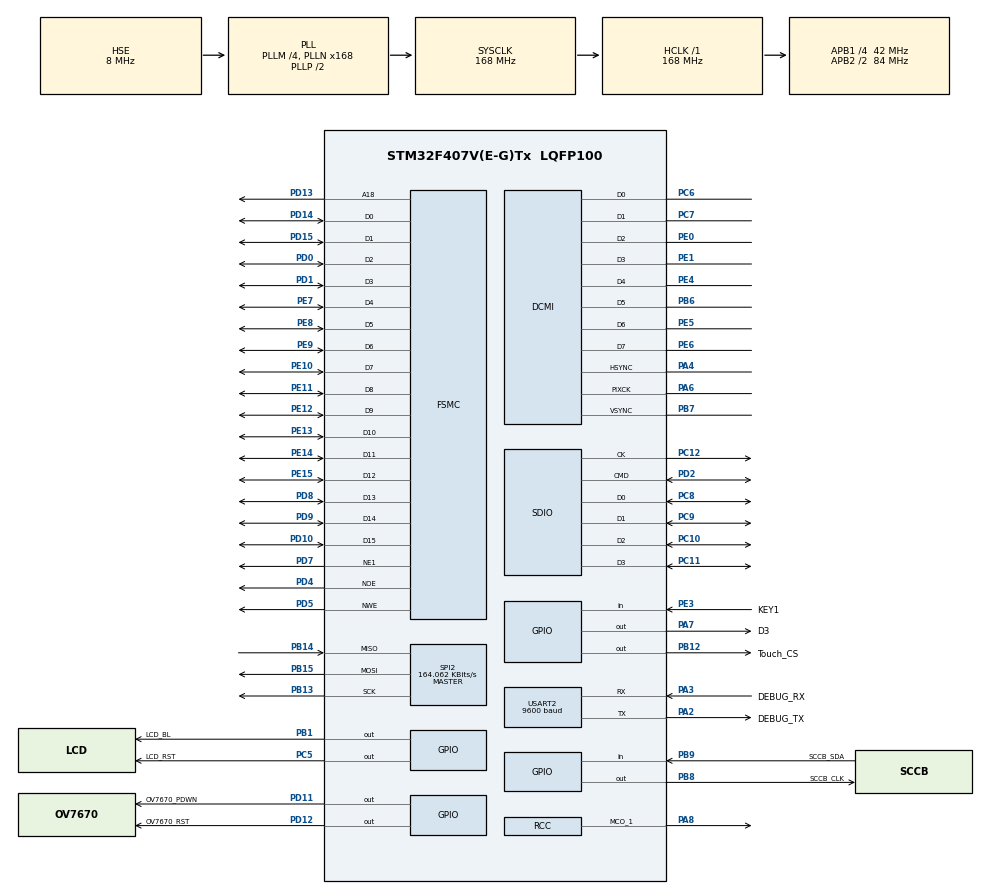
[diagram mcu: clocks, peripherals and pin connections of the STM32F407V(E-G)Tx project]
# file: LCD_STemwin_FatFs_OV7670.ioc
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DCMI.HSPolarity=DCMI_HSPOLARITY_HIGH
DCMI.VSPolarity=DCMI_VSPOLARITY_HIGH
Dma.DCMI.0.Direction=DMA_PERIPH_TO_MEMORY
Dma.DCMI.0.FIFOMode=DMA_FIFOMODE_DISABLE
Dma.DCMI.0.Instance=DMA2_Stream1
Dma.DCMI.0.MemDataAlignment=DMA_MDATAALIGN_WORD
Dma.DCMI.0.MemInc=DMA_MINC_ENABLE
Dma.DCMI.0.Mode=DMA_CIRCULAR
Dma.DCMI.0.PeriphDataAlignment=DMA_PDATAALIGN_WORD
Dma.DCMI.0.PeriphInc=DMA_PINC_DISABLE
Dma.DCMI.0.Priority=DMA_PRIORITY_VERY_HIGH
Dma.Request0=DCMI
FATFS.USE_DMA_CODE_SD=0
FATFS._CODE_PAGE=936
FATFS._USE_FASTSEEK=0
FATFS._USE_FIND=0
FATFS._USE_LFN=2
FSMC.AddressSetupTime1=8
FSMC.BusTurnAroundDuration1=0
FSMC.DataSetupTime1=20
Mcu.Family=STM32F4
Mcu.Name=STM32F407V(E-G)Tx
Mcu.Package=LQFP100
NVIC.DMA2_Stream1_IRQn=true\:0\:0\:false\:false\:true\:false
NVIC.PriorityGroup=NVIC_PRIORITYGROUP_4
PA0-WKUP.Mode=SYS_WakeUp0
PA0-WKUP.Signal=SYS_WKUP
PA13.Mode=Serial_Wire
PA13.Signal=SYS_JTMS-SWDIO
PA14.Mode=Serial_Wire
PA14.Signal=SYS_JTCK-SWCLK
PA2.GPIO_Label=DEBUG_TX
PA2.Mode=Asynchronous
PA2.Signal=USART2_TX
PA3.GPIO_Label=DEBUG_RX
PA3.Mode=Asynchronous
PA3.Signal=USART2_RX
PA4.Mode=Slave_8_bits_External_Synchro
PA4.Signal=DCMI_HSYNC
PA6.Mode=Slave_8_bits_External_Synchro
PA6.Signal=DCMI_PIXCK
PA7.GPIO_Label=D3
PA7.GPIO_Speed=GPIO_SPEED_FREQ_VERY_HIGH
PA7.Signal=GPIO_Output
PA8.Mode=Clock-out-1
PA8.Signal=RCC_MCO_1
PB1.GPIO_Label=LCD_BL
PB1.GPIO_Speed=GPIO_SPEED_FREQ_VERY_HIGH
PB1.Signal=GPIO_Output
PB12.GPIO_Label=Touch_CS
PB12.GPIO_Speed=GPIO_SPEED_FREQ_VERY_HIGH
PB12.Signal=GPIO_Output
PB13.Mode=Full_Duplex_Master
PB13.Signal=SPI2_SCK
PB14.Mode=Full_Duplex_Master
PB14.Signal=SPI2_MISO
PB15.Mode=Full_Duplex_Master
PB15.Signal=SPI2_MOSI
PB6.Mode=Slave_8_bits_External_Synchro
PB6.Signal=DCMI_D5
PB7.Mode=Slave_8_bits_External_Synchro
PB7.Signal=DCMI_VSYNC
PB8.GPIO_Label=SCCB_CLK
PB8.GPIO_PuPd=GPIO_PULLUP
PB8.GPIO_Speed=GPIO_SPEED_FREQ_VERY_HIGH
PB8.Signal=GPIO_Output
PB9.GPIO_Label=SCCB_SDA
PB9.GPIO_PuPd=GPIO_PULLUP
PB9.Signal=GPIO_Input
PC10.Mode=SD_4_bits_Wide_bus
PC10.Signal=SDIO_D2
PC11.Mode=SD_4_bits_Wide_bus
PC11.Signal=SDIO_D3
PC12.Mode=SD_4_bits_Wide_bus
PC12.Signal=SDIO_CK
PC14-OSC32_IN.Mode=LSE-External-Oscillator
PC14-OSC32_IN.Signal=RCC_OSC32_IN
PC15-OSC32_OUT.Mode=LSE-External-Oscillator
PC15-OSC32_OUT.Signal=RCC_OSC32_OUT
PC5.GPIO_Label=LCD_RST
PC5.GPIO_Speed=GPIO_SPEED_FREQ_VERY_HIGH
PC5.Signal=GPIO_Output
PC6.Mode=Slave_8_bits_External_Synchro
PC6.Signal=DCMI_D0
PC7.Mode=Slave_8_bits_External_Synchro
PC7.Signal=DCMI_D1
PC8.Mode=SD_4_bits_Wide_bus
PC8.Signal=SDIO_D0
PC9.Mode=SD_4_bits_Wide_bus
PC9.Signal=SDIO_D1
PD0.Mode=16b-d1
PD0.Signal=FSMC_D2
PD1.Mode=16b-d1
PD1.Signal=FSMC_D3
PD10.Mode=16b-d1
PD10.Signal=FSMC_D15
PD11.GPIO_Label=OV7670_PDWN
PD11.GPIO_Speed=GPIO_SPEED_FREQ_VERY_HIGH
PD11.Signal=GPIO_Output
PD12.GPIO_Label=OV7670_RST
PD12.GPIO_Speed=GPIO_SPEED_FREQ_VERY_HIGH
PD12.Signal=GPIO_Output
PD13.Mode=A18_1
PD13.Signal=FSMC_A18
PD14.Mode=16b-d1
PD14.Signal=FSMC_D0
PD15.Mode=16b-d1
PD15.Signal=FSMC_D1
PD2.Mode=SD_4_bits_Wide_bus
PD2.Signal=SDIO_CMD
PD4.Mode=Lcd1
PD4.Signal=FSMC_NOE
PD5.Mode=Lcd1
PD5.Signal=FSMC_NWE
PD7.Mode=NorPsramChipSelect1_1
PD7.Signal=FSMC_NE1
PD8.Mode=16b-d1
PD8.Signal=FSMC_D13
PD9.Mode=16b-d1
PD9.Signal=FSMC_D14
PE0.Mode=Slave_8_bits_External_Synchro
PE0.Signal=DCMI_D2
PE1.Mode=Slave_8_bits_External_Synchro
PE1.Signal=DCMI_D3
PE10.Mode=16b-d1
PE10.Signal=FSMC_D7
PE11.Mode=16b-d1
PE11.Signal=FSMC_D8
PE12.Mode=16b-d1
PE12.Signal=FSMC_D9
PE13.Mode=16b-d1
PE13.Signal=FSMC_D10
PE14.Mode=16b-d1
PE14.Signal=FSMC_D11
PE15.Mode=16b-d1
PE15.Signal=FSMC_D12
PE3.GPIO_Label=KEY1
PE3.Signal=GPIO_Input
PE4.Mode=Slave_8_bits_External_Synchro
PE4.Signal=DCMI_D4
PE5.Mode=Slave_8_bits_External_Synchro
PE5.Signal=DCMI_D6
PE6.Mode=Slave_8_bits_External_Synchro
PE6.Signal=DCMI_D7
PE7.Mode=16b-d1
PE7.Signal=FSMC_D4
PE8.Mode=16b-d1
PE8.Signal=FSMC_D5
PE9.Mode=16b-d1
PE9.Signal=FSMC_D6
PH0-OSC_IN.Mode=HSE-External-Oscillator
PH0-OSC_IN.Signal=RCC_OSC_IN
PH1-OSC_OUT.Mode=HSE-External-Oscillator
PH1-OSC_OUT.Signal=RCC_OSC_OUT
ProjectManager.HeapSize=0x1000
ProjectManager.StackSize=0x1200
ProjectManager.TargetToolchain=MDK-ARM V5
RCC.48MHZClocksFreq_Value=48000000
RCC.AHBFreq_Value=168000000
RCC.APB1CLKDivider=RCC_HCLK_DIV4
RCC.APB1Freq_Value=42000000
RCC.APB1TimFreq_Value=84000000
RCC.APB2CLKDivider=RCC_HCLK_DIV2
RCC.APB2Freq_Value=84000000
RCC.APB2TimFreq_Value=168000000
RCC.CortexFreq_Value=168000000
RCC.EnbaleCSS=true
RCC.HCLKFreq_Value=168000000
RCC.HSE_VALUE=8000000
RCC.HSI_VALUE=16000000
RCC.PLLM=4
RCC.PLLN=168
RCC.PLLQ=7
RCC.PLLSourceVirtual=RCC_PLLSOURCE_HSE
RCC.SYSCLKFreq_VALUE=168000000
RCC.SYSCLKSource=RCC_SYSCLKSOURCE_PLLCLK
RCC.VCOOutputFreq_Value=336000000
SPI2.BaudRatePrescaler=SPI_BAUDRATEPRESCALER_256
SPI2.CLKPhase=SPI_PHASE_1EDGE
SPI2.CLKPolarity=SPI_POLARITY_LOW
SPI2.CalculateBaudRate=164.062 KBits/s
SPI2.Direction=SPI_DIRECTION_2LINES
SPI2.Mode=SPI_MODE_MASTER
SPI2.VirtualType=VM_MASTER
USART2.BaudRate=9600
USART2.VirtualMode=VM_ASYNC
VP_CRC_VS_CRC.Mode=CRC_Activate
VP_FATFS_VS_SDIO.Mode=SDIO
board=LCD_Drive

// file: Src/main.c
/**
  ******************************************************************************
  * @file           : main.c
  * @brief          : Main program body
  ******************************************************************************
  * This notice applies to any and all portions of this file
  * that are not between comment pairs USER CODE BEGIN and
  * USER CODE END. Other portions of this file, whether
  * inserted by the user or by software development tools
  * are owned by their respective copyright owners.
  *
  * Copyright (c) 2018 STMicroelectronics International N.V.
  * All rights reserved.
  *
  * Redistribution and use in source and binary forms, with or without
  * modification, are permitted, provided that the following conditions are met:
  *
  * 1. Redistribution of source code must retain the above copyright notice,
  *    this list of conditions and the following disclaimer.
  * 2. Redistributions in binary form must reproduce the above copyright notice,
  *    this list of conditions and the following disclaimer in the documentation
  *    and/or other materials provided with the distribution.
  * 3. Neither the name of STMicroelectronics nor the names of other
  *    contributors to this software may be used to endorse or promote products
  *    derived from this software without specific written permission.
  * 4. This software, including modifications and/or derivative works of this
  *    software, must execute solely and exclusively on microcontroller or
  *    microprocessor devices manufactured by or for STMicroelectronics.
  * 5. Redistribution and use of this software other than as permitted under
  *    this license is void and will automatically terminate your rights under
  *    this license.
  *
  * THIS SOFTWARE IS PROVIDED BY STMICROELECTRONICS AND CONTRIBUTORS "AS IS"
  * AND ANY EXPRESS, IMPLIED OR STATUTORY WARRANTIES, INCLUDING, BUT NOT
  * LIMITED TO, THE IMPLIED WARRANTIES OF MERCHANTABILITY, FITNESS FOR A
  * PARTICULAR PURPOSE AND NON-INFRINGEMENT OF THIRD PARTY INTELLECTUAL PROPERTY
  * RIGHTS ARE DISCLAIMED TO THE FULLEST EXTENT PERMITTED BY LAW. IN NO EVENT
  * SHALL STMICROELECTRONICS OR CONTRIBUTORS BE LIABLE FOR ANY DIRECT, INDIRECT,
  * INCIDENTAL, SPECIAL, EXEMPLARY, OR CONSEQUENTIAL DAMAGES (INCLUDING, BUT NOT
  * LIMITED TO, PROCUREMENT OF SUBSTITUTE GOODS OR SERVICES; LOSS OF USE, DATA,
  * OR PROFITS; OR BUSINESS INTERRUPTION) HOWEVER CAUSED AND ON ANY THEORY OF
  * LIABILITY, WHETHER IN CONTRACT, STRICT LIABILITY, OR TORT (INCLUDING
  * NEGLIGENCE OR OTHERWISE) ARISING IN ANY WAY OUT OF THE USE OF THIS SOFTWARE,
  * EVEN IF ADVISED OF THE POSSIBILITY OF SUCH DAMAGE.
  *
  ******************************************************************************
  */
#include "main.h"
#include "stm32f4xx_hal.h"
#include "fatfs.h"
#include "libjpeg.h"

/* USER CODE BEGIN Includes */
#include "OV7670.h"

#include "BSP_LCD.h"
/* USER CODE END Includes */

CRC_HandleTypeDef hcrc;

DCMI_HandleTypeDef hdcmi;
DMA_HandleTypeDef hdma_dcmi;

SD_HandleTypeDef hsd;

SPI_HandleTypeDef hspi2;

UART_HandleTypeDef huart2;

SRAM_HandleTypeDef hsram1;

/* USER CODE BEGIN PV */
/* Private variables ---------------------------------------------------------*/
uint8_t Frame_buff[160*120*2];

/* USER CODE END PV */

void SystemClock_Config(void);
static void MX_GPIO_Init(void);
static void MX_DMA_Init(void);
void MX_USART2_UART_Init(void);
void MX_FSMC_Init(void);
void MX_CRC_Init(void);
void MX_SPI2_Init(void);
void MX_SDIO_SD_Init(void);
void MX_DCMI_Init(void);

/* USER CODE BEGIN PFP */
/* Private function prototypes -----------------------------------------------*/
void BSP_CAMERA_ContinuousStart(uint8_t *buff);
/* USER CODE END PFP */

int main(void)
{
  /* USER CODE BEGIN 1 */
  uint32_t i=0,j=0;
  /* USER CODE END 1 */

  /* MCU Configuration----------------------------------------------------------*/

  /* Reset of all peripherals, Initializes the Flash interface and the Systick. */
  HAL_Init();

  /* Configure the system clock */
  SystemClock_Config();

  /* Initialize all configured peripherals */
  MX_GPIO_Init();
  MX_DMA_Init();
  MX_USART2_UART_Init();
  MX_FSMC_Init();
  MX_CRC_Init();
  MX_SPI2_Init();
  MX_DCMI_Init();
  MX_LIBJPEG_Init();
  /* USER CODE BEGIN 2 */
  MX_FATFS_Init();
		MX_SDIO_SD_Init();
		BSP_SD_Init();

		Lcd_Initialize();
		Lcd_ColorBox(0,0,320,240,0xFFF);

//		HAL_TIM_Base_Start(&htim1);
//		HAL_TIM_PWM_Start(&htim1,TIM_CHANNEL_1);
		OV7670_Init();

		 Lcd_ColorBox(0,0,320,240,0x00);
  /* USER CODE END 2 */

  /* Infinite loop */
  while (1)
  {

  /* USER CODE BEGIN 3 */
			BSP_CAMERA_ContinuousStart( (uint8_t *)Frame_buff );
			Lcd_SetCursor(0,0);
			for(j=0;j<120;j++)
			  {
       for(i=0;i<160;i+=2)
			    {
		       DrawPixel(i,j, (Frame_buff[i+j*160]<<8)|(Frame_buff[i+1+j*160]) );
							}
					}

		 HAL_Delay(10);

//
//			for(i=0;i<160*120*2;i++)
//			{
//					*(__IO uint16_t *) (Bank1_LCD_D) = (Frame_buff[i]<<8)|Frame_buff[i+1];
//				 i++;
//			}
  }
  /* USER CODE END 3 */

}

void SystemClock_Config(void)
{

  RCC_OscInitTypeDef RCC_OscInitStruct;
  RCC_ClkInitTypeDef RCC_ClkInitStruct;

    /**Configure the main internal regulator output voltage
    */
  __HAL_RCC_PWR_CLK_ENABLE();

  __HAL_PWR_VOLTAGESCALING_CONFIG(PWR_REGULATOR_VOLTAGE_SCALE1);

    /**Initializes the CPU, AHB and APB busses clocks
    */
  RCC_OscInitStruct.OscillatorType = RCC_OSCILLATORTYPE_HSE;
  RCC_OscInitStruct.HSEState = RCC_HSE_ON;
  RCC_OscInitStruct.PLL.PLLState = RCC_PLL_ON;
  RCC_OscInitStruct.PLL.PLLSource = RCC_PLLSOURCE_HSE;
  RCC_OscInitStruct.PLL.PLLM = 4;
  RCC_OscInitStruct.PLL.PLLN = 168;
  RCC_OscInitStruct.PLL.PLLP = RCC_PLLP_DIV2;
  RCC_OscInitStruct.PLL.PLLQ = 7;
  if (HAL_RCC_OscConfig(&RCC_OscInitStruct) != HAL_OK)
  {
    _Error_Handler(__FILE__, __LINE__);
  }

    /**Initializes the CPU, AHB and APB busses clocks
    */
  RCC_ClkInitStruct.ClockType = RCC_CLOCKTYPE_HCLK|RCC_CLOCKTYPE_SYSCLK
                              |RCC_CLOCKTYPE_PCLK1|RCC_CLOCKTYPE_PCLK2;
  RCC_ClkInitStruct.SYSCLKSource = RCC_SYSCLKSOURCE_PLLCLK;
  RCC_ClkInitStruct.AHBCLKDivider = RCC_SYSCLK_DIV1;
  RCC_ClkInitStruct.APB1CLKDivider = RCC_HCLK_DIV4;
  RCC_ClkInitStruct.APB2CLKDivider = RCC_HCLK_DIV2;

  if (HAL_RCC_ClockConfig(&RCC_ClkInitStruct, FLASH_LATENCY_5) != HAL_OK)
  {
    _Error_Handler(__FILE__, __LINE__);
  }

  HAL_RCC_MCOConfig(RCC_MCO1, RCC_MCO1SOURCE_HSI, RCC_MCODIV_1);

    /**Enables the Clock Security System
    */
  HAL_RCC_EnableCSS();

    /**Configure the Systick interrupt time
    */
  HAL_SYSTICK_Config(HAL_RCC_GetHCLKFreq()/1000);

    /**Configure the Systick
    */
  HAL_SYSTICK_CLKSourceConfig(SYSTICK_CLKSOURCE_HCLK);

  /* SysTick_IRQn interrupt configuration */
  HAL_NVIC_SetPriority(SysTick_IRQn, 0, 0);
}

/* CRC init function */
void MX_CRC_Init(void)
{

  hcrc.Instance = CRC;
  if (HAL_CRC_Init(&hcrc) != HAL_OK)
  {
    _Error_Handler(__FILE__, __LINE__);
  }

}

/* DCMI init function */
void MX_DCMI_Init(void)
{

  hdcmi.Instance = DCMI;
  hdcmi.Init.SynchroMode = DCMI_SYNCHRO_HARDWARE;
  hdcmi.Init.PCKPolarity = DCMI_PCKPOLARITY_FALLING;
  hdcmi.Init.VSPolarity = DCMI_VSPOLARITY_HIGH;
  hdcmi.Init.HSPolarity = DCMI_HSPOLARITY_HIGH;
  hdcmi.Init.CaptureRate = DCMI_CR_ALL_FRAME;
  hdcmi.Init.ExtendedDataMode = DCMI_EXTEND_DATA_8B;
  hdcmi.Init.JPEGMode = DCMI_JPEG_DISABLE;
  if (HAL_DCMI_Init(&hdcmi) != HAL_OK)
  {
    _Error_Handler(__FILE__, __LINE__);
  }

}

/* SDIO init function */
void MX_SDIO_SD_Init(void)
{

  hsd.Instance = SDIO;
  hsd.Init.ClockEdge = SDIO_CLOCK_EDGE_RISING;
  hsd.Init.ClockBypass = SDIO_CLOCK_BYPASS_DISABLE;
  hsd.Init.ClockPowerSave = SDIO_CLOCK_POWER_SAVE_DISABLE;
  hsd.Init.BusWide = SDIO_BUS_WIDE_1B;
  hsd.Init.HardwareFlowControl = SDIO_HARDWARE_FLOW_CONTROL_DISABLE;
  hsd.Init.ClockDiv = 0;

}

/* SPI2 init function */
void MX_SPI2_Init(void)
{

  /* SPI2 parameter configuration*/
  hspi2.Instance = SPI2;
  hspi2.Init.Mode = SPI_MODE_MASTER;
  hspi2.Init.Direction = SPI_DIRECTION_2LINES;
  hspi2.Init.DataSize = SPI_DATASIZE_8BIT;
  hspi2.Init.CLKPolarity = SPI_POLARITY_LOW;
  hspi2.Init.CLKPhase = SPI_PHASE_1EDGE;
  hspi2.Init.NSS = SPI_NSS_SOFT;
  hspi2.Init.BaudRatePrescaler = SPI_BAUDRATEPRESCALER_256;
  hspi2.Init.FirstBit = SPI_FIRSTBIT_MSB;
  hspi2.Init.TIMode = SPI_TIMODE_DISABLE;
  hspi2.Init.CRCCalculation = SPI_CRCCALCULATION_DISABLE;
  hspi2.Init.CRCPolynomial = 10;
  if (HAL_SPI_Init(&hspi2) != HAL_OK)
  {
    _Error_Handler(__FILE__, __LINE__);
  }

}

/* USART2 init function */
void MX_USART2_UART_Init(void)
{

  huart2.Instance = USART2;
  huart2.Init.BaudRate = 9600;
  huart2.Init.WordLength = UART_WORDLENGTH_8B;
  huart2.Init.StopBits = UART_STOPBITS_1;
  huart2.Init.Parity = UART_PARITY_NONE;
  huart2.Init.Mode = UART_MODE_TX_RX;
  huart2.Init.HwFlowCtl = UART_HWCONTROL_NONE;
  huart2.Init.OverSampling = UART_OVERSAMPLING_16;
  if (HAL_UART_Init(&huart2) != HAL_OK)
  {
    _Error_Handler(__FILE__, __LINE__);
  }

}

static void MX_DMA_Init(void)
{
  /* DMA controller clock enable */
  __HAL_RCC_DMA2_CLK_ENABLE();

  /* DMA interrupt init */
  /* DMA2_Stream1_IRQn interrupt configuration */
  HAL_NVIC_SetPriority(DMA2_Stream1_IRQn, 0, 0);
  HAL_NVIC_EnableIRQ(DMA2_Stream1_IRQn);

}

/** Configure pins as
        * Analog
        * Input
        * Output
        * EVENT_OUT
        * EXTI
     PA8   ------> RCC_MCO_1
*/
static void MX_GPIO_Init(void)
{

  GPIO_InitTypeDef GPIO_InitStruct;

  /* GPIO Ports Clock Enable */
  __HAL_RCC_GPIOE_CLK_ENABLE();
  __HAL_RCC_GPIOC_CLK_ENABLE();
  __HAL_RCC_GPIOH_CLK_ENABLE();
  __HAL_RCC_GPIOA_CLK_ENABLE();
  __HAL_RCC_GPIOB_CLK_ENABLE();
  __HAL_RCC_GPIOD_CLK_ENABLE();

  /*Configure GPIO pin Output Level */
  HAL_GPIO_WritePin(D3_GPIO_Port, D3_Pin, GPIO_PIN_RESET);

  /*Configure GPIO pin Output Level */
  HAL_GPIO_WritePin(LCD_RST_GPIO_Port, LCD_RST_Pin, GPIO_PIN_RESET);

  /*Configure GPIO pin Output Level */
  HAL_GPIO_WritePin(GPIOB, LCD_BL_Pin|Touch_CS_Pin|SCCB_CLK_Pin, GPIO_PIN_RESET);

  /*Configure GPIO pin Output Level */
  HAL_GPIO_WritePin(GPIOD, OV7670_PDWN_Pin|OV7670_RST_Pin, GPIO_PIN_RESET);

  /*Configure GPIO pin : KEY1_Pin */
  GPIO_InitStruct.Pin = KEY1_Pin;
  GPIO_InitStruct.Mode = GPIO_MODE_INPUT;
  GPIO_InitStruct.Pull = GPIO_NOPULL;
  HAL_GPIO_Init(KEY1_GPIO_Port, &GPIO_InitStruct);

  /*Configure GPIO pin : D3_Pin */
  GPIO_InitStruct.Pin = D3_Pin;
  GPIO_InitStruct.Mode = GPIO_MODE_OUTPUT_PP;
  GPIO_InitStruct.Pull = GPIO_NOPULL;
  GPIO_InitStruct.Speed = GPIO_SPEED_FREQ_VERY_HIGH;
  HAL_GPIO_Init(D3_GPIO_Port, &GPIO_InitStruct);

  /*Configure GPIO pin : LCD_RST_Pin */
  GPIO_InitStruct.Pin = LCD_RST_Pin;
  GPIO_InitStruct.Mode = GPIO_MODE_OUTPUT_PP;
  GPIO_InitStruct.Pull = GPIO_NOPULL;
  GPIO_InitStruct.Speed = GPIO_SPEED_FREQ_VERY_HIGH;
  HAL_GPIO_Init(LCD_RST_GPIO_Port, &GPIO_InitStruct);

  /*Configure GPIO pins : LCD_BL_Pin Touch_CS_Pin */
  GPIO_InitStruct.Pin = LCD_BL_Pin|Touch_CS_Pin;
  GPIO_InitStruct.Mode = GPIO_MODE_OUTPUT_PP;
  GPIO_InitStruct.Pull = GPIO_NOPULL;
  GPIO_InitStruct.Speed = GPIO_SPEED_FREQ_VERY_HIGH;
  HAL_GPIO_Init(GPIOB, &GPIO_InitStruct);

  /*Configure GPIO pins : OV7670_PDWN_Pin OV7670_RST_Pin */
  GPIO_InitStruct.Pin = OV7670_PDWN_Pin|OV7670_RST_Pin;
  GPIO_InitStruct.Mode = GPIO_MODE_OUTPUT_PP;
  GPIO_InitStruct.Pull = GPIO_NOPULL;
  GPIO_InitStruct.Speed = GPIO_SPEED_FREQ_VERY_HIGH;
  HAL_GPIO_Init(GPIOD, &GPIO_InitStruct);

  /*Configure GPIO pin : PA8 */
  GPIO_InitStruct.Pin = GPIO_PIN_8;
  GPIO_InitStruct.Mode = GPIO_MODE_AF_PP;
  GPIO_InitStruct.Pull = GPIO_NOPULL;
  GPIO_InitStruct.Speed = GPIO_SPEED_FREQ_LOW;
  GPIO_InitStruct.Alternate = GPIO_AF0_MCO;
  HAL_GPIO_Init(GPIOA, &GPIO_InitStruct);

  /*Configure GPIO pin : SCCB_CLK_Pin */
  GPIO_InitStruct.Pin = SCCB_CLK_Pin;
  GPIO_InitStruct.Mode = GPIO_MODE_OUTPUT_PP;
  GPIO_InitStruct.Pull = GPIO_PULLUP;
  GPIO_InitStruct.Speed = GPIO_SPEED_FREQ_VERY_HIGH;
  HAL_GPIO_Init(SCCB_CLK_GPIO_Port, &GPIO_InitStruct);

  /*Configure GPIO pin : SCCB_SDA_Pin */
  GPIO_InitStruct.Pin = SCCB_SDA_Pin;
  GPIO_InitStruct.Mode = GPIO_MODE_INPUT;
  GPIO_InitStruct.Pull = GPIO_PULLUP;
  HAL_GPIO_Init(SCCB_SDA_GPIO_Port, &GPIO_InitStruct);

}

/* FSMC initialization function */
static void MX_FSMC_Init(void)
{
  FSMC_NORSRAM_TimingTypeDef Timing;

  /** Perform the SRAM1 memory initialization sequence
  */
  hsram1.Instance = FSMC_NORSRAM_DEVICE;
  hsram1.Extended = FSMC_NORSRAM_EXTENDED_DEVICE;
  /* hsram1.Init */
  hsram1.Init.NSBank = FSMC_NORSRAM_BANK1;
  hsram1.Init.DataAddressMux = FSMC_DATA_ADDRESS_MUX_DISABLE;
  hsram1.Init.MemoryType = FSMC_MEMORY_TYPE_SRAM;
  hsram1.Init.MemoryDataWidth = FSMC_NORSRAM_MEM_BUS_WIDTH_16;
  hsram1.Init.BurstAccessMode = FSMC_BURST_ACCESS_MODE_DISABLE;
  hsram1.Init.WaitSignalPolarity = FSMC_WAIT_SIGNAL_POLARITY_LOW;
  hsram1.Init.WrapMode = FSMC_WRAP_MODE_DISABLE;
  hsram1.Init.WaitSignalActive = FSMC_WAIT_TIMING_BEFORE_WS;
  hsram1.Init.WriteOperation = FSMC_WRITE_OPERATION_ENABLE;
  hsram1.Init.WaitSignal = FSMC_WAIT_SIGNAL_DISABLE;
  hsram1.Init.ExtendedMode = FSMC_EXTENDED_MODE_DISABLE;
  hsram1.Init.AsynchronousWait = FSMC_ASYNCHRONOUS_WAIT_DISABLE;
  hsram1.Init.WriteBurst = FSMC_WRITE_BURST_DISABLE;
  hsram1.Init.PageSize = FSMC_PAGE_SIZE_NONE;
  /* Timing */
  Timing.AddressSetupTime = 8;
  Timing.AddressHoldTime = 0;
  Timing.DataSetupTime = 20;
  Timing.BusTurnAroundDuration = 0;
  Timing.CLKDivision = 16;
  Timing.DataLatency = 17;
  Timing.AccessMode = FSMC_ACCESS_MODE_A;
  /* ExtTiming */

  if (HAL_SRAM_Init(&hsram1, &Timing, NULL) != HAL_OK)
  {
    _Error_Handler(__FILE__, __LINE__);
  }

}

/* USER CODE BEGIN 4 */
/**
  * @brief  Starts the camera capture in continuous mode.
  * @param  buff: pointer to the camera output buffer
  */
void BSP_CAMERA_ContinuousStart(uint8_t *buff)
{
  /* Start the camera capture */
  HAL_DCMI_Start_DMA(&hdcmi, DCMI_MODE_CONTINUOUS, (uint32_t)buff, 160*60);
}

/* USER CODE END 4 */

void _Error_Handler(char *file, int line)
{
  while(1)
  {
  }
}

/************************ (C) COPYRIGHT STMicroelectronics *****END OF FILE****/
